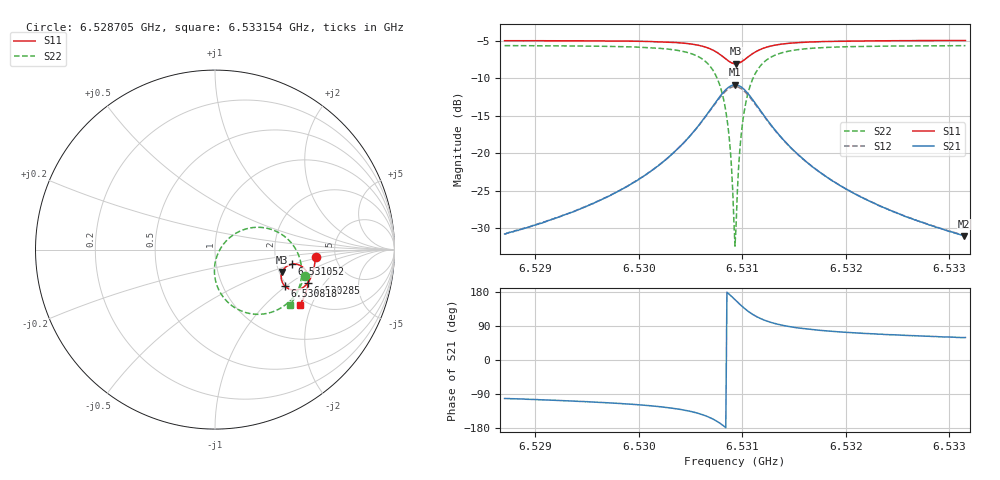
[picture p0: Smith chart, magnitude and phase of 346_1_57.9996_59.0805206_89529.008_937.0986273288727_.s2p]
#  HZ  S  RI  R  50.00
! Rohde & Schwarz Vector Network Analyzer
! Rohde-Schwarz,ZNB20-2Port,1311601062101988,3.16
! Created: UTC 3/21/2024, 1:05:48 AM
! freq[Hz]  re:S11  im:S11  re:S21  im:S21  re:S12  im:S12  re:S22  im:S22
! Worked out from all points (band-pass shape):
!   401 points, 6.528705 GHz to 6.533154 GHz, reference 50 ohm
!   highest |S21| = -10.88 dB at 6.53093 GHz (marker M1); lowest = -31.0 dB at 6.533143 GHz (marker M2)
!   |S21| within 3 dB of the highest: 6.530708 GHz to 6.531153 GHz (445 kHz wide, 0.00681 % of centre)
!   lowest |S11| = -8.1 dB at 6.530941 GHz (marker M3), VSWR 2.30, Z = 104 - j30.7 ohm
!   |S11| at or under -10 dB: nowhere
!   |S22| runs from -32.4 to -5.7 dB; largest |S21 - S12| = 0.011
!   S11 on the Smith chart (normalised r, x): 6.528705 GHz: 3.51, -0.42; 6.530285 GHz: 2.62, -1.38; 6.530818 GHz: 1.95, -0.97; 6.531052 GHz: 2.43, -0.49; 6.533154 GHz: 1.82, -1.65
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6.5287052e9  0.5599 -0.0411  -0.00583 -0.0284  -0.00623 -0.0284  0.5003 -0.1445
6.5294504e9  0.5512 -0.1022  -0.0143 -0.0407  -0.0153 -0.0403  0.4721 -0.2119
6.5301956e9  0.5246 -0.1737  -0.0454 -0.07  -0.0472 -0.0688  0.3964 -0.3048
6.5302846e9  0.518 -0.184  -0.0549 -0.0759  -0.0567 -0.0745  0.3765 -0.3193
6.5306517e9  0.4547 -0.2251  -0.1513 -0.095  -0.1535 -0.089  0.1923 -0.356
6.5307518e9  0.4162 -0.2208  -0.211 -0.072  -0.2107 -0.0635  0.09 -0.3092
6.5308185e9  0.3875 -0.2014  -0.2537 -0.0283  -0.2498 -0.0191  0.0235 -0.2291
6.5308741e9  0.3709 -0.1709  -0.2751 0.0312  -0.2678 0.0386  -0.00319 -0.1266
6.5309075e9  0.3686 -0.1479  -0.2745 0.0735  -0.2656 0.0789  0.00447 -0.0568
6.5309186e9  0.3696 -0.1401  -0.2715 0.0878  -0.2622 0.0922  0.0115 -0.0339
6.5309297e9  0.3714 -0.1324  -0.2671 0.1016  -0.2576 0.1052  0.021 -0.0118
6.5309408e9  0.3739 -0.1249  -0.2613 0.1152  -0.2517 0.1178  0.0327 0.0092
6.530952e9  0.3774 -0.1177  -0.2543 0.1278  -0.2447 0.1297  0.0463 0.0292
6.5309742e9  0.3863 -0.1051  -0.2366 0.1506  -0.2278 0.1508  0.0785 0.0637
6.5309964e9  0.3972 -0.0947  -0.2161 0.1689  -0.208 0.1679  0.1155 0.0907
6.5310521e9  0.4282 -0.0813  -0.1594 0.1937  -0.154 0.1913  0.2132 0.1231
6.5311299e9  0.4666 -0.0847  -0.0924 0.192  -0.0895 0.1896  0.3266 0.1079
6.5312411e9  0.4989 -0.1072  -0.0356 0.1627  -0.0341 0.1614  0.4189 0.0444
6.5316749e9  0.5201 -0.1826  0.0137 0.0804  0.0147 0.0804  0.4831 -0.1309
6.5324201e9  0.4996 -0.2556  0.0165 0.0384  0.0171 0.0383  0.4552 -0.2459
6.5331431e9  0.4718 -0.3084  0.0144 0.0242  0.015 0.0241  0.4202 -0.3074
6.5331542e9  0.4713 -0.3091  0.0144 0.0243  0.0149 0.024  0.4194 -0.3082
